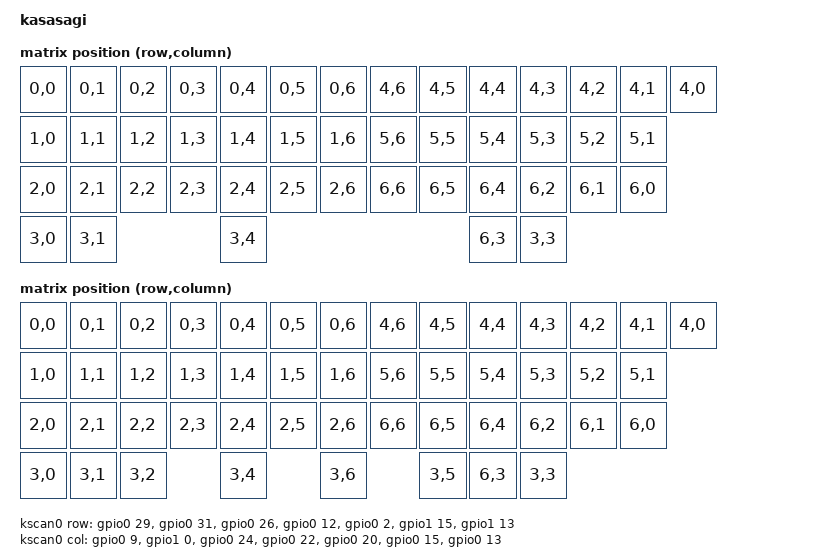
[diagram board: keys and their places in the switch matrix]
/*
 * Copyright (c) 2024 The ZMK Contributors
 *
 * SPDX-License-Identifier: MIT
 */

/dts-v1/;
#include <nordic/nrf52840_qiaa.dtsi>
#include <dt-bindings/led/led.h>
#include <dt-bindings/zmk/matrix_transform.h>

#include "layouts/default_layout.dtsi"
#include "layouts/split_space_layout.dtsi"

&kasasagi_default_layout { transform = <&default_transform>; };
&kasasagi_split_space_layout { transform = <&split_space_transform>; };

/ {
    model = "kasasagi";
    compatible = "stellarboards,kasasagi";

    chosen {
        zephyr,code-partition = &code_partition;
        zephyr,sram = &sram0;
        zephyr,flash = &flash0;
        zmk,battery = &vbatt;
        zmk,kscan = &kscan0;
        zmk,underglow = &led_strip;
        zmk,physical-layout = &kasasagi_default_layout;
    };

    default_transform: keymap_transform_0 {
        compatible = "zmk,matrix-transform";
        columns = <7>;
        rows = <7>;
        map = <
RC(0,0) RC(0,1) RC(0,2) RC(0,3) RC(0,4) RC(0,5) RC(0,6) RC(4,6) RC(4,5) RC(4,4) RC(4,3) RC(4,2) RC(4,1) RC(4,0)
RC(1,0) RC(1,1) RC(1,2) RC(1,3) RC(1,4) RC(1,5) RC(1,6) RC(5,6) RC(5,5) RC(5,4) RC(5,3) RC(5,2) RC(5,1)
RC(2,0) RC(2,1) RC(2,2) RC(2,3) RC(2,4) RC(2,5) RC(2,6) RC(6,6) RC(6,5) RC(6,4) RC(6,2) RC(6,1) RC(6,0)
RC(3,0) RC(3,1)                 RC(3,4)                                 RC(6,3) RC(3,3)
        >;
    };

    split_space_transform: keymap_transform_1 {
        compatible = "zmk,matrix-transform";
        columns = <7>;
        rows = <7>;
        map = <
RC(0,0) RC(0,1) RC(0,2) RC(0,3) RC(0,4) RC(0,5) RC(0,6) RC(4,6) RC(4,5) RC(4,4) RC(4,3) RC(4,2) RC(4,1) RC(4,0)
RC(1,0) RC(1,1) RC(1,2) RC(1,3) RC(1,4) RC(1,5) RC(1,6) RC(5,6) RC(5,5) RC(5,4) RC(5,3) RC(5,2) RC(5,1)
RC(2,0) RC(2,1) RC(2,2) RC(2,3) RC(2,4) RC(2,5) RC(2,6) RC(6,6) RC(6,5) RC(6,4) RC(6,2) RC(6,1) RC(6,0)
RC(3,0) RC(3,1) RC(3,2)         RC(3,4)         RC(3,6)         RC(3,5) RC(6,3) RC(3,3)
        >;
    };

    kscan0: kscan {
        compatible = "zmk,kscan-gpio-matrix";
        wakeup-source;

        diode-direction = "col2row";
        row-gpios
            = <&gpio0 29 (GPIO_ACTIVE_HIGH | GPIO_PULL_DOWN)>
            , <&gpio0 31 (GPIO_ACTIVE_HIGH | GPIO_PULL_DOWN)>
            , <&gpio0 26 (GPIO_ACTIVE_HIGH | GPIO_PULL_DOWN)>
            , <&gpio0 12 (GPIO_ACTIVE_HIGH | GPIO_PULL_DOWN)>
            , <&gpio0  2 (GPIO_ACTIVE_HIGH | GPIO_PULL_DOWN)>
            , <&gpio1 15 (GPIO_ACTIVE_HIGH | GPIO_PULL_DOWN)>
            , <&gpio1 13 (GPIO_ACTIVE_HIGH | GPIO_PULL_DOWN)>
            ;
        col-gpios
            = <&gpio0  9 GPIO_ACTIVE_HIGH>
            , <&gpio1  0 GPIO_ACTIVE_HIGH>
            , <&gpio0 24 GPIO_ACTIVE_HIGH>
            , <&gpio0 22 GPIO_ACTIVE_HIGH>
            , <&gpio0 20 GPIO_ACTIVE_HIGH>
            , <&gpio0 15 GPIO_ACTIVE_HIGH>
            , <&gpio0 13 GPIO_ACTIVE_HIGH>
            ;
    };

    vbatt: vbatt {
        compatible = "zmk,battery-nrf-vddh";
        label = "BATTERY";
    };

    EXT_POWER {
        compatible = "zmk,ext-power-generic";
        control-gpios = <&gpio0 4 GPIO_ACTIVE_HIGH>;
        init-delay-ms = <100>;
    };

    keys {
        compatible = "gpio-keys";
        soft_off_key: soft_off_key {
            gpios = <&gpio0 10 (GPIO_ACTIVE_LOW | GPIO_PULL_UP)>;
        };
    };

    behaviors {
        hw_soft_off: hw_soft_off {
            compatible = "zmk,behavior-soft-off";
            #binding-cells = <0>;
            hold-time-ms = <1000>;
        };
    };

    soft_off_direct_scan: soft_off_direct_scan {
        compatible = "zmk,kscan-gpio-direct";
        input-keys = <&soft_off_key>;
        wakeup-source;
    };

    side_band_behavior_triggers: side_band_behavior_triggers {
        compatible = "zmk,kscan-sideband-behaviors";

        kscan = <&soft_off_direct_scan>;
        auto-enable;
        wakeup-source;

        soft_off {
            column = <0>;
            row = <0>;
            bindings = <&hw_soft_off>;
        };
    };

    soft_off_wakers {
        compatible = "zmk,soft-off-wakeup-sources";
        wakeup-sources = <&soft_off_direct_scan>;
    };
};

&adc {
    status = "okay";
};

&gpiote {
    status = "okay";
};

&gpio0 {
    status = "okay";
};

&gpio1 {
    status = "okay";
};

zephyr_udc0: &usbd {
    status = "okay";
};

&pinctrl {
    spi3_default: spi3_default {
        group1 {
            psels = <NRF_PSEL(SPIM_MOSI, 0, 6)>;
        };
    };

    spi3_sleep: spi3_sleep {
        group1 {
            psels = <NRF_PSEL(SPIM_MOSI, 0, 6)>;
            low-power-enable;
        };
    };
};

&spi3 {
    compatible = "nordic,nrf-spim";
    status = "okay";

    pinctrl-0 = <&spi3_default>;
    pinctrl-1 = <&spi3_sleep>;
    pinctrl-names = "default", "sleep";

    led_strip: ws2812@0 {
        compatible = "worldsemi,ws2812-spi";

        /* SPI */
        reg = <0>; /* ignored, but necessary for SPI bindings */
        spi-max-frequency = <4000000>;

        /* WS2812 */
        chain-length = <4>; /* arbitrary; change at will */
        spi-one-frame = <0x70>;
        spi-zero-frame = <0x40>;

        color-mapping = <LED_COLOR_ID_GREEN LED_COLOR_ID_RED LED_COLOR_ID_BLUE>;
    };
};

&flash0 {
    /*
     * For more information, see:
     * http://docs.zephyrproject.org/latest/devices/dts/flash_partitions.html
     */
    partitions {
        compatible = "fixed-partitions";
        #address-cells = <1>;
        #size-cells = <1>;

        sd_partition: partition@0 {
            label = "softdevice";
            reg = <0x00000000 0x00026000>;
        };
        code_partition: partition@26000 {
            label = "code_partition";
            reg = <0x00026000 0x000c6000>;
        };

        /*
         * The flash starting at 0x000ec000 and ending at
         * 0x000f3fff is reserved for use by the application.
         */

        /*
         * Storage partition will be used by FCB/LittleFS/NVS
         * if enabled.
         */
        storage_partition: partition@ec000 {
            label = "storage";
            reg = <0x000ec000 0x00008000>;
        };

        boot_partition: partition@f4000 {
            label = "adafruit_boot";
            reg = <0x000f4000 0x0000c000>;
        };
    };
};
